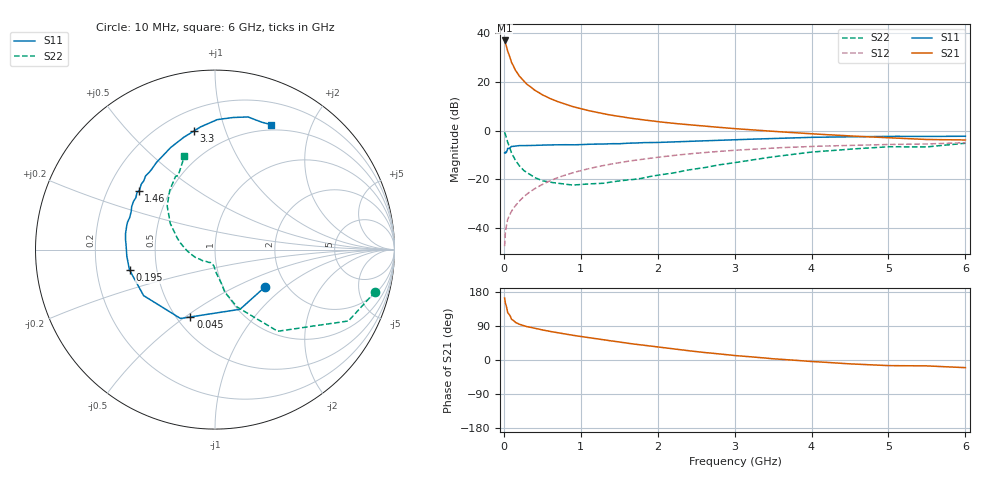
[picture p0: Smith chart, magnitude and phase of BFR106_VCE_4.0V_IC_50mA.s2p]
! Infineon Technologies  Discrete & RF Semiconductors
! BFR106
! VCE =  4.0 V,  IC =  50 mA
! Common Emitter S-Parameters:  Nov 2015
# GHz  S  MA  R  50
!  f  S11  S21  S12  S22
! GHz  MAG  ANG  MAG  ANG  MAG  ANG  MAG  ANG
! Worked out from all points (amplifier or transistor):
!   210 points, 10 MHz to 6 GHz, reference 50 ohm
!   highest |S21| = 37.0 dB at 10 MHz (marker M1)
!   |S21| within 3 dB of that: start of sweep to 37.6 MHz
!   unconditionally stable (mu >= 1): 248.5 MHz to 2.33 GHz
!   at 185 MHz: K = 0.93, MSG = 26.4 dB, |S12| = -29.6 dB
!   at 1.52 GHz: K = 1.05, MAG = 8.1 dB, |S12| = -13.1 dB
!   at 6 GHz: K = 0.99, MSG = 0.6 dB, |S12| = -5.0 dB
!   S11 on the Smith chart (normalised r, x): 10 MHz: 1.55, -0.74; 45 MHz: 0.59, -0.52; 195 MHz: 0.35, -0.10; 1.46 GHz: 0.33, +0.30; 3.3 GHz: 0.33, +0.78; 6 GHz: 0.44, +1.45
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0.01  0.3471 -37.1  71 163.3  0.0042 80.7  0.9228 -14.7
0.02  0.3606 -67.2  63.9 150.2  0.008 72.5  0.8434 -28.1
0.045  0.3994 -110.0  45.51 130.6  0.0137 61.5  0.6088 -47.0
0.05  0.4292 -116.6  42.78 124.9  0.0149 60.3  0.5736 -52.5
0.1  0.4732 -147.2  25.16 107.6  0.0219 61.4  0.3422 -69.0
0.15  0.4794 -160.8  17.36 99.2  0.0285 64.5  0.2434 -77.0
0.195  0.4885 -166.5  13.67 95.0  0.0345 67.2  0.1951 -79.2
0.2  0.4898 -167.1  13.26 94.4  0.0352 67.4  0.1898 -79.5
0.24  0.4896 -171.3  11.18 91.6  0.0408 68.6  0.1613 -82.3
0.3  0.4926 -175.8  8.928 88.0  0.0492 70.3  0.1362 -86.1
0.4  0.4946 178.1  6.765 83.5  0.0635 71.6  0.1083 -90.2
0.5  0.5015 173.7  5.43 79.3  0.0777 71.7  0.0927 -93.2
0.6  0.5065 169.7  4.552 75.4  0.0925 71.2  0.0867 -96.7
0.7  0.5092 165.7  3.932 71.7  0.1072 70.4  0.0827 -101.5
1.02  0.5148 154.9  2.759 61.4  0.1527 66.9  0.0786 -114.5
1.46  0.5362 142.6  2.001 48.7  0.213 60.7  0.0904 -135.4
2.02  0.5701 128.2  1.513 33.7  0.2845 52.2  0.1221 -161.4
3.1  0.6554 103.8  1.066 10.3  0.4013 35.5  0.2313 160.0
3.3  0.6704 100.2  1.012 6.9  0.4191 32.4  0.2588 154.3
4.1  0.7273 87.6  0.839 -5.1  0.4768 20.5  0.3708 135.3
5.1  0.7598 74.8  0.698 -14.9  0.5192 8.0  0.4628 117.9
6  0.7628 65.9  0.64 -20.2  0.5627 -1.6  0.5479 108.1
